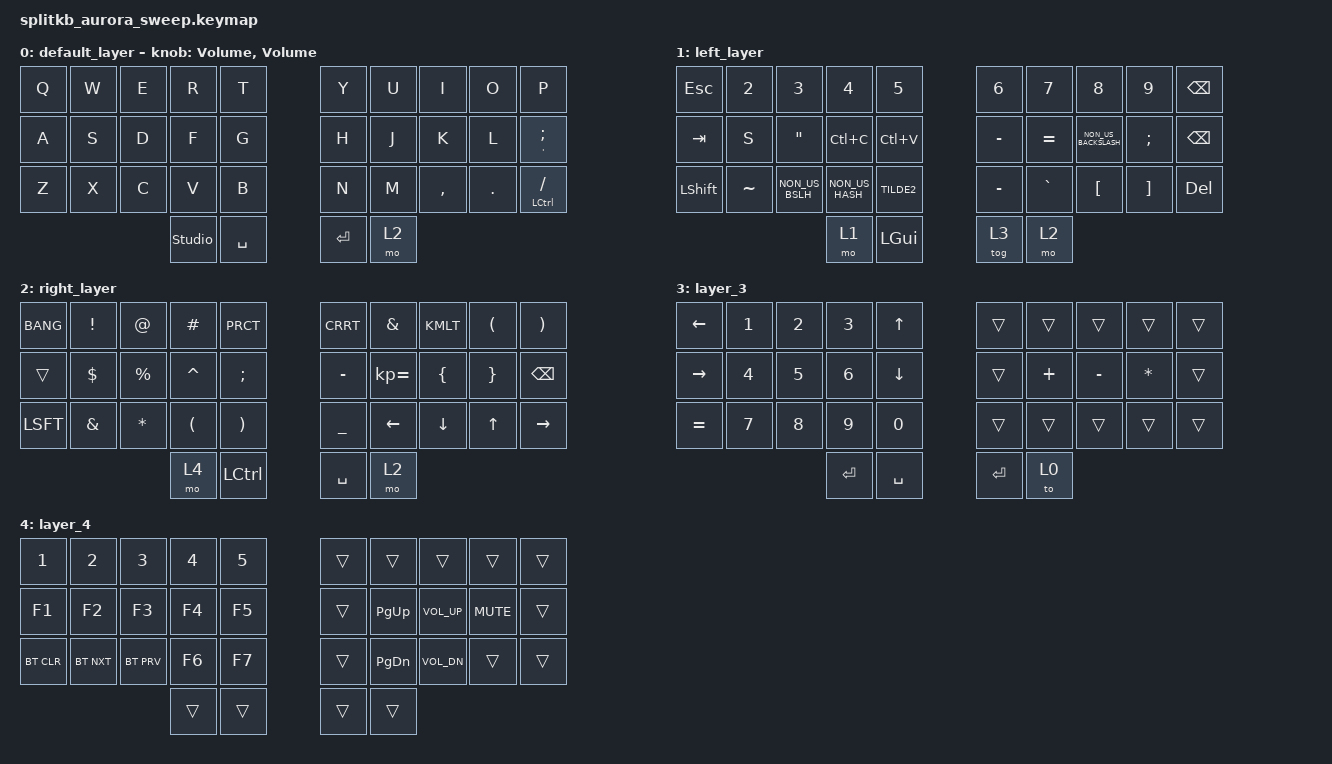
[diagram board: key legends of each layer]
/*
 * Copyright (c) 2022 The ZMK Contributors
 *
 * SPDX-License-Identifier: MIT
 */

#include <behaviors.dtsi>
#include <dt-bindings/zmk/bt.h>
#include <dt-bindings/zmk/keys.h>

&mt {
    //  flavor = "tap-preferred";
    // tapping_term_ms = <200>;
};

/ {
    combos {
        compatible = "zmk,combos";

        combo_esc {
            timeout-ms = <50>;
            key-positions = <0 1>;
            bindings = <&kp ESC>;
        };

        combo_tab {
            timeout-ms = <50>;
            key-positions = <10 11>;
            bindings = <&kp TAB>;
        };

        combo_ralt {
            timeout-ms = <50>;
            key-positions = <17 16>;
            bindings = <&kp RALT>;
        };

        combo_lalt {
            timeout-ms = <50>;
            key-positions = <11 12>;
            bindings = <&kp LALT>;
        };

        combo_lgui {
            timeout-ms = <50>;
            key-positions = <12 13>;
            bindings = <&kp LGUI>;
        };

        combo_rgui {
            timeout-ms = <50>;
            key-positions = <17 18>;
            bindings = <&kp RGUI>;
        };

        shift {
            bindings = <&kp LEFT_SHIFT>;
            key-positions = <20 21>;
            slow-release;
            layers = <0>;
        };

        rightshift {
            bindings = <&kp LEFT_SHIFT>;
            key-positions = <19 18>;
            slow-release;
            layers = <0>;
        };
    };

    behaviors {
        Volume: Volume {
            compatible = "zmk,behavior-sensor-rotate";
            label = "VOLUME";
            #sensor-binding-cells = <0>;
            bindings = <&kp C_VOLUME_UP>, <&kp C_VOL_DN>;
        };
    };

    keymap {
        compatible = "zmk,keymap";

        default_layer {
            bindings = <
&kp Q  &kp W      &kp E  &kp R  &kp T    &kp Y  &kp U  &kp I      &kp O      &kp P
&kp A  &kp S      &kp D  &kp F  &kp G    &kp H  &kp J  &kp K      &kp L      &mt SQT SEMICOLON
&kp Z  &kp X      &kp C  &kp V  &kp B    &kp N  &kp M  &kp COMMA  &kp DOT    &mt LCTRL SLASH
&studio_unlock  &kp SPACE                                                  &kp ENTER  &mo 2
            >;

            sensor-bindings = <&Volume>, <&Volume>;
        };

        left_layer {
            bindings = <
&kp ESCAPE      &kp NUM_2  &kp NUM_3        &kp NUM_4        &kp NUM_5     &kp NUM_6  &kp NUM_7  &kp NUM_8             &kp NUM_9      &kp BACKSPACE
&kp TAB         &kp S      &kp DQT          &kp LC(C)        &kp LC(V)     &kp MINUS  &kp EQL    &kp NON_US_BACKSLASH  &kp SEMICOLON  &kp BACKSPACE
&kp LEFT_SHIFT  &kp TILDE  &kp NON_US_BSLH  &kp NON_US_HASH  &kp TILDE2    &kp MINUS  &kp GRAVE  &kp LBKT              &kp RBKT       &kp DEL
&mo 1           &kp LGUI                                                                                               &tog 3         &mo 2
            >;
        };

        right_layer {
            bindings = <
&kp BANG  &kp EXCLAMATION  &kp AT_SIGN   &kp HASH              &kp PRCT                 &kp CRRT   &kp AMPS      &kp KMLT  &kp LPRN  &kp RPRN
&trans    &kp DOLLAR       &kp PERCENT   &kp CARET             &kp SCLN                 &kp MINUS  &kp KP_EQUAL  &kp LBRC  &kp RBRC  &kp BKSP
&kp LSFT  &kp AMPERSAND    &kp ASTERISK  &kp LEFT_PARENTHESIS  &kp RIGHT_PARENTHESIS    &kp UNDER  &kp LEFT      &kp DOWN  &kp UP    &kp RIGHT
&mo 4     &kp LCTL                                                                                                         &kp SPC   &mo 2
            >;
        };

        layer_3 {
            bindings = <
&kp LEFT   &kp N1     &kp N2  &kp N3  &kp UP          &trans  &trans    &trans     &trans        &trans
&kp RIGHT  &kp N4     &kp N5  &kp N6  &kp DOWN        &trans  &kp PLUS  &kp MINUS  &kp ASTERISK  &trans
&kp EQUAL  &kp N7     &kp N8  &kp N9  &kp NUMBER_0    &trans  &trans    &trans     &trans        &trans
&kp ENTER  &kp SPACE                                                               &kp ENTER     &to 0
            >;
        };

        layer_4 {
            bindings = <
&kp NUM_1   &kp NUM_2   &kp NUM_3   &kp NUM_4  &kp NUM_5    &trans  &trans     &trans        &trans      &trans
&kp F1      &kp F2      &kp F3      &kp F4     &kp F5       &trans  &kp PG_UP  &kp K_VOL_UP  &kp K_MUTE  &trans
&bt BT_CLR  &bt BT_NXT  &bt BT_PRV  &kp F6     &kp F7       &trans  &kp PG_DN  &kp K_VOL_DN  &trans      &trans
&trans      &trans                                                                           &trans      &trans
            >;
        };
    };
};
